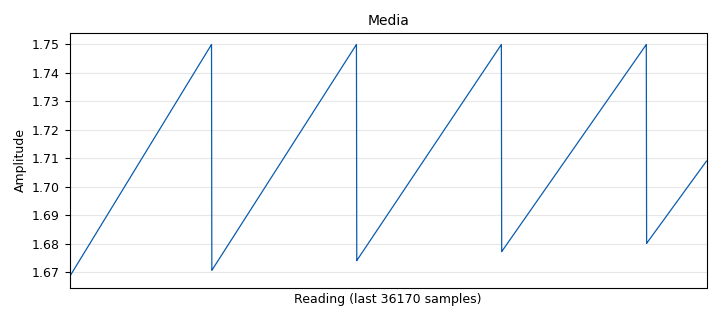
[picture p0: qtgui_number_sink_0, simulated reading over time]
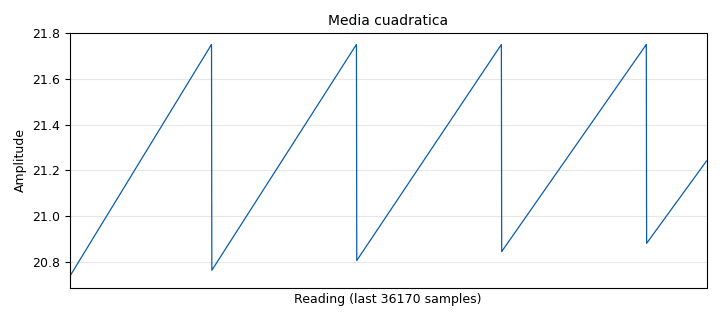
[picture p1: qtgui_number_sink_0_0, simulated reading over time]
options:
  parameters:
    generate_options: qt_gui
    id: media
    output_language: python
    title: Not titled yet
  states: {}

blocks:
- name: samp_rate
  id: variable
  parameters:
    value: '8000'
  states: {}
- name: blocks_vector_source_x_1
  id: blocks_vector_source_x
  parameters:
    repeat: 'True'
    type: float
    vector: (3,2,7,-5)
  states: {}
- name: epy_block_0
  id: epy_block
  parameters:
    _source_code: |-
      import numpy as np
      from gnuradio import gr

      class blk(gr.sync_block):

          def __init__(self):
              gr.sync_block.__init__(
                  self,
                  name='Promedios_de_tiempos',
                  in_sig=[np.float32],
                  out_sig=[np.float32,
                           np.float32,
                           np.float32,
                           np.float32,
                           np.float32]
              )

              self.acum_anterior = 0.0
              self.acum_anterior1 = 0.0
              self.Ntotales = 0

          def work(self, input_items, output_items):

              x = input_items[0]

              y0 = output_items[0]
              y1 = output_items[1]
              y2 = output_items[2]
              y3 = output_items[3]
              y4 = output_items[4]

              N = len(x)
              self.Ntotales += N

              # ---- Promedio ----
              acumulado = self.acum_anterior + np.cumsum(x)
              self.acum_anterior = acumulado[-1]
              y0[:] = acumulado / self.Ntotales

              # ---- Media cuadrática ----
              x2 = x*x
              acumulado1 = self.acum_anterior1 + np.cumsum(x2)
              self.acum_anterior1 = acumulado1[-1]
              y1[:] = acumulado1 / self.Ntotales

              # ---- RMS ----
              y2[:] = np.sqrt(y1[:])

              # ---- Potencia promedio ----
              y3[:] = y1[:]

              # ---- Desviación estándar ----
              y4[:] = np.sqrt(y1[:] - y0[:]**2)

              return len(y0)
  states: {}
- name: qtgui_number_sink_0
  id: qtgui_number_sink
  parameters:
    graph_type: qtgui.NUM_GRAPH_HORIZ
    max: '2'
    name: '"Media"'
    type: float
  states: {}
- name: qtgui_number_sink_0_0
  id: qtgui_number_sink
  parameters:
    graph_type: qtgui.NUM_GRAPH_HORIZ
    max: '2'
    name: '"Media cuadratica"'
    type: float
  states: {}
- name: qtgui_number_sink_0_0_0
  id: qtgui_number_sink
  parameters:
    graph_type: qtgui.NUM_GRAPH_HORIZ
    max: '2'
    name: '"Potencia Promedio"'
    type: float
  states: {}
- name: qtgui_number_sink_0_0_0_0
  id: qtgui_number_sink
  parameters:
    graph_type: qtgui.NUM_GRAPH_HORIZ
    max: '2'
    name: '"Desviacion Estandar"'
    type: float
  states: {}
- name: qtgui_number_sink_0_1
  id: qtgui_number_sink
  parameters:
    graph_type: qtgui.NUM_GRAPH_HORIZ
    max: '2'
    name: '"RMS"'
    type: float
  states: {}

connections:
- [blocks_vector_source_x_1, '0', epy_block_0, '0']
- [epy_block_0, '0', qtgui_number_sink_0, '0']
- [epy_block_0, '1', qtgui_number_sink_0_0, '0']
- [epy_block_0, '2', qtgui_number_sink_0_1, '0']
- [epy_block_0, '3', qtgui_number_sink_0_0_0, '0']
- [epy_block_0, '4', qtgui_number_sink_0_0_0_0, '0']

metadata:
  file_format: 1
  grc_version: 3.10.12.0
